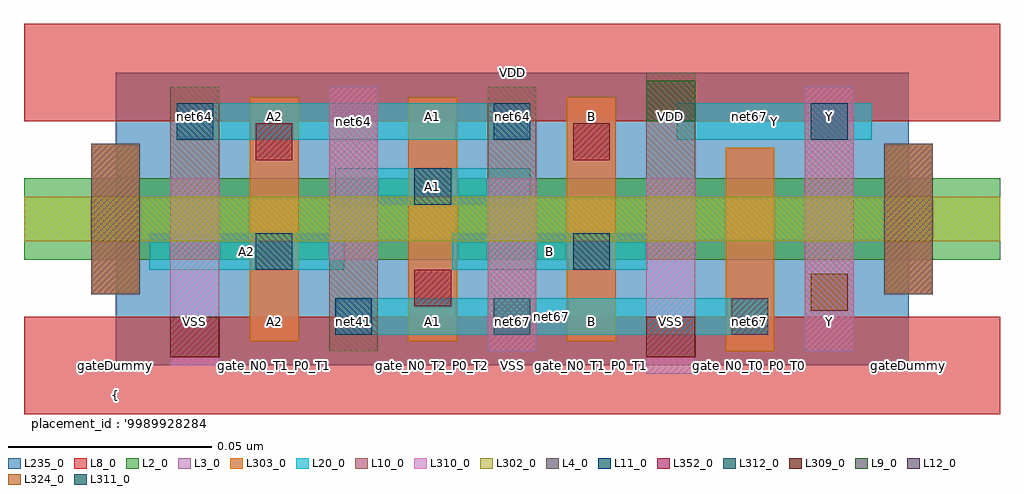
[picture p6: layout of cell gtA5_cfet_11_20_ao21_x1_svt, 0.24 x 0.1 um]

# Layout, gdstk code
import gdstk
lib = gdstk.Library(unit=1e-6, precision=2.5e-10)
def R(c, l, rs):  # rectangles x0, y0, x1, y1
    for r in rs: c.add(gdstk.rectangle(r[:2], r[2:], *l))
def A(c, l, x, y, w, h, nx, ny, dx, dy):  # array of equal rectangles
    R(c, l, [(x+i*dx, y+j*dy, x+i*dx+w, y+j*dy+h) for i in range(nx) for j in range(ny)])
L2_0 = (2, 0)
L3_0 = (3, 0)
L4_0 = (4, 0)
L8_0 = (8, 0)
L9_0 = (9, 0)
L10_0 = (10, 0)
L11_0 = (11, 0)
L12_0 = (12, 0)
L20_0 = (20, 0)
L235_0 = (235, 0)
L302_0 = (302, 0)
L303_0 = (303, 0)
L309_0 = (309, 0)
L310_0 = (310, 0)
L311_0 = (311, 0)
L312_0 = (312, 0)
L324_0 = (324, 0)
L352_0 = (352, 0)

gta5_cfet_11_20_ao21_x1_ = lib.new_cell('gtA5_cfet_11_20_ao21_x1_svt')
R(gta5_cfet_11_20_ao21_x1_, L2_0, [(-0.0225,0.026,0.2175,0.046)])
A(gta5_cfet_11_20_ao21_x1_, L3_0, 0.033, 0.006, 0.012, 0.06, 3, 1, 0.039, 0)
R(gta5_cfet_11_20_ao21_x1_, L3_0, [(0.15,0.0035,0.162,0.0535), (-0.006,0.0175,0.006,0.0545), (0.189,0.0175,0.201,0.0545)])
R(gta5_cfet_11_20_ao21_x1_, L4_0, [(-0.006,0.0175,0.006,0.0545), (0.189,0.0175,0.201,0.0545)])
R(gta5_cfet_11_20_ao21_x1_, L8_0, [(-0.0225,-0.012,0.2175,0.012), (-0.0225,0.06,0.2175,0.084)])
R(gta5_cfet_11_20_ao21_x1_, L9_0, [(0.1305,0.06,0.1425,0.07)])
R(gta5_cfet_11_20_ao21_x1_, L10_0, [(0.0525,0.0035,0.0645,0.0685), (0.0915,0.0035,0.1035,0.0685), (0.1695,0.0035,0.1815,0.0685), (0.0135,0.026,0.0255,0.0685), (0.1305,0.026,0.1425,0.072)])
A(gta5_cfet_11_20_ao21_x1_, L11_0, 0.015, 0.0555, 0.009, 0.009, 3, 1, 0.078, 0)
R(gta5_cfet_11_20_ao21_x1_, L11_0, [(0.054,0.0075,0.063,0.0165)])
R(gta5_cfet_11_20_ao21_x1_, L12_0, [(0.1515,0.0075,0.1605,0.0165)])
R(gta5_cfet_11_20_ao21_x1_, L20_0, [(0.054,0.0075,0.1605,0.0165), (0.0083,0.0235,0.0563,0.0325), (0.0828,0.0235,0.1308,0.0325), (0.054,0.0395,0.102,0.0485), (0.015,0.0555,0.102,0.0645), (0.138,0.0555,0.186,0.0645)])
R(gta5_cfet_11_20_ao21_x1_, L235_0, [(0,0,0.195,0.072)])
R(gta5_cfet_11_20_ao21_x1_, L302_0, [(-0.0225,0.0305,0.2175,0.0415)])
A(gta5_cfet_11_20_ao21_x1_, L303_0, 0.033, 0.006, 0.012, 0.06, 3, 1, 0.039, 0)
R(gta5_cfet_11_20_ao21_x1_, L303_0, [(0.15,0.0035,0.162,0.0535), (-0.006,0.0175,0.006,0.0545), (0.189,0.0175,0.201,0.0545)])
R(gta5_cfet_11_20_ao21_x1_, L309_0, [(0.0135,0.002,0.0255,0.012), (0.1305,0.002,0.1425,0.012)])
R(gta5_cfet_11_20_ao21_x1_, L310_0, [(0.1305,-0.002,0.1425,0.046), (0.0135,0,0.0255,0.046), (0.0915,0.0035,0.1035,0.046), (0.1695,0.0035,0.1815,0.0685), (0.0525,0.026,0.0645,0.0685)])
R(gta5_cfet_11_20_ao21_x1_, L311_0, [(0.093,0.0075,0.102,0.0165)])
R(gta5_cfet_11_20_ao21_x1_, L312_0, [(0.0345,0.0235,0.0435,0.0325), (0.1125,0.0235,0.1215,0.0325), (0.0735,0.0395,0.0825,0.0485)])
R(gta5_cfet_11_20_ao21_x1_, L324_0, [(0.171,0.0135,0.18,0.0225)])
R(gta5_cfet_11_20_ao21_x1_, L352_0, [(0.0735,0.0145,0.0825,0.0235), (0.0345,0.0505,0.0435,0.0595), (0.1125,0.0505,0.1215,0.0595)])
gta5_cfet_11_20_ao21_x1_.add(gdstk.Label('net67', (0.1072,0.012), layer=100, texttype=100))
gta5_cfet_11_20_ao21_x1_.add(gdstk.Label('net64', (0.0585,0.06), layer=100, texttype=100))
gta5_cfet_11_20_ao21_x1_.add(gdstk.Label('gateDummy', (0,0), layer=103, texttype=103))
gta5_cfet_11_20_ao21_x1_.add(gdstk.Label('sd_N0_VSS_P0_T3', (0.0195,0), layer=103, texttype=103))
gta5_cfet_11_20_ao21_x1_.add(gdstk.Label('gate_N0_T1_P0_T1', (0.039,0), layer=103, texttype=103))
gta5_cfet_11_20_ao21_x1_.add(gdstk.Label('sd_N0_abut_P0_T0', (0.0585,0), layer=103, texttype=103))
gta5_cfet_11_20_ao21_x1_.add(gdstk.Label('gate_N0_T2_P0_T2', (0.078,0), layer=103, texttype=103))
gta5_cfet_11_20_ao21_x1_.add(gdstk.Label('sd_N0_T0_P0_T3', (0.0975,0), layer=103, texttype=103))
gta5_cfet_11_20_ao21_x1_.add(gdstk.Label('gate_N0_T1_P0_T1', (0.117,0), layer=103, texttype=103))
gta5_cfet_11_20_ao21_x1_.add(gdstk.Label('sd_N0_VSS_P0_VDD', (0.1365,0), layer=103, texttype=103))
gta5_cfet_11_20_ao21_x1_.add(gdstk.Label('gate_N0_T0_P0_T0', (0.156,0), layer=103, texttype=103))
gta5_cfet_11_20_ao21_x1_.add(gdstk.Label('sd_N0_T3_P0_T3', (0.1755,0), layer=103, texttype=103))
gta5_cfet_11_20_ao21_x1_.add(gdstk.Label('gateDummy', (0.195,0), layer=103, texttype=103))
gta5_cfet_11_20_ao21_x1_.add(gdstk.Label('}', (0,-0.0785), layer=104, texttype=104))
gta5_cfet_11_20_ao21_x1_.add(gdstk.Label('  power : None', (0,-0.0713), layer=104, texttype=104))
gta5_cfet_11_20_ao21_x1_.add(gdstk.Label('  performance : None', (0,-0.0643), layer=104, texttype=104))
gta5_cfet_11_20_ao21_x1_.add(gdstk.Label("  solution_hash : '15180946769331170698'", (0,-0.057), layer=104, texttype=104))
gta5_cfet_11_20_ao21_x1_.add(gdstk.Label('  number_m2 : 0', (0,-0.05), layer=104, texttype=104))
gta5_cfet_11_20_ao21_x1_.add(gdstk.Label('  number_m1 : 0', (0,-0.0428), layer=104, texttype=104))
gta5_cfet_11_20_ao21_x1_.add(gdstk.Label('  number_m0cuts : 0', (0,-0.0358), layer=104, texttype=104))
gta5_cfet_11_20_ao21_x1_.add(gdstk.Label('  number_m0 : 6', (0,-0.0285), layer=104, texttype=104))
gta5_cfet_11_20_ao21_x1_.add(gdstk.Label("  solution_number : '0000'", (0,-0.0215), layer=104, texttype=104))
gta5_cfet_11_20_ao21_x1_.add(gdstk.Label("  placement_id : '9989928284464015247'", (0,-0.0143), layer=104, texttype=104))
gta5_cfet_11_20_ao21_x1_.add(gdstk.Label('{', (0,-0.0073), layer=104, texttype=104))
gta5_cfet_11_20_ao21_x1_.add(gdstk.Label('VSS', (0.0195,0.0108), layer=105, texttype=105))
gta5_cfet_11_20_ao21_x1_.add(gdstk.Label('A2', (0.039,0.0108), layer=105, texttype=105))
gta5_cfet_11_20_ao21_x1_.add(gdstk.Label('net41', (0.0585,0.0108), layer=105, texttype=105))
gta5_cfet_11_20_ao21_x1_.add(gdstk.Label('A1', (0.078,0.0108), layer=105, texttype=105))
gta5_cfet_11_20_ao21_x1_.add(gdstk.Label('net67', (0.0975,0.0108), layer=105, texttype=105))
gta5_cfet_11_20_ao21_x1_.add(gdstk.Label('B', (0.117,0.0108), layer=105, texttype=105))
gta5_cfet_11_20_ao21_x1_.add(gdstk.Label('VSS', (0.1365,0.0108), layer=105, texttype=105))
gta5_cfet_11_20_ao21_x1_.add(gdstk.Label('net67', (0.156,0.0108), layer=105, texttype=105))
gta5_cfet_11_20_ao21_x1_.add(gdstk.Label('Y', (0.1755,0.0108), layer=105, texttype=105))
gta5_cfet_11_20_ao21_x1_.add(gdstk.Label('net64', (0.0195,0.0612), layer=105, texttype=105))
gta5_cfet_11_20_ao21_x1_.add(gdstk.Label('A2', (0.039,0.0612), layer=105, texttype=105))
gta5_cfet_11_20_ao21_x1_.add(gdstk.Label('net67', (0.0585,0.0612), layer=105, texttype=105))
gta5_cfet_11_20_ao21_x1_.add(gdstk.Label('A1', (0.078,0.0612), layer=105, texttype=105))
gta5_cfet_11_20_ao21_x1_.add(gdstk.Label('net64', (0.0975,0.0612), layer=105, texttype=105))
gta5_cfet_11_20_ao21_x1_.add(gdstk.Label('B', (0.117,0.0612), layer=105, texttype=105))
gta5_cfet_11_20_ao21_x1_.add(gdstk.Label('VDD', (0.1365,0.0612), layer=105, texttype=105))
gta5_cfet_11_20_ao21_x1_.add(gdstk.Label('net67', (0.156,0.0612), layer=105, texttype=105))
gta5_cfet_11_20_ao21_x1_.add(gdstk.Label('Y', (0.1755,0.0612), layer=105, texttype=105))
gta5_cfet_11_20_ao21_x1_.add(gdstk.Label('VSS', (0.0975,0), layer=8, texttype=0))
gta5_cfet_11_20_ao21_x1_.add(gdstk.Label('VDD', (0.0975,0.072), layer=8, texttype=0))
gta5_cfet_11_20_ao21_x1_.add(gdstk.Label('A2', (0.0323,0.028), layer=20, texttype=251))
gta5_cfet_11_20_ao21_x1_.add(gdstk.Label('B', (0.1067,0.028), layer=20, texttype=251))
gta5_cfet_11_20_ao21_x1_.add(gdstk.Label('A1', (0.078,0.044), layer=20, texttype=251))
gta5_cfet_11_20_ao21_x1_.add(gdstk.Label('Y', (0.162,0.06), layer=20, texttype=251))
gta5_cfet_11_20_ao21_x1_.add(gdstk.Label('gtA5_cfet_11_20_ao21_x1_rvt_0', (0,0), layer=235, texttype=0))

lib.write_gds('gtA5_cfet_11_20_ao21_x1_svt.gds')
